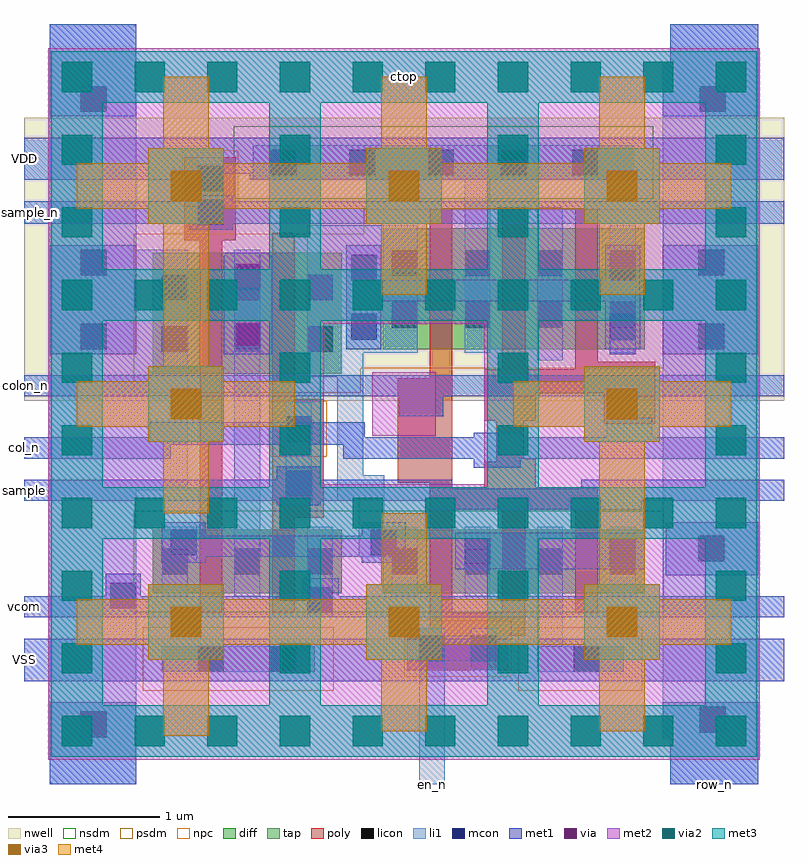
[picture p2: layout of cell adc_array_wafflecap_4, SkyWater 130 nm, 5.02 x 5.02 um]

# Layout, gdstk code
import gdstk
lib = gdstk.Library(unit=1e-6, precision=1e-09)
def R(c, l, rs):  # rectangles x0, y0, x1, y1
    for r in rs: c.add(gdstk.rectangle(r[:2], r[2:], *l))
def A(c, l, x, y, w, h, nx, ny, dx, dy):  # array of equal rectangles
    R(c, l, [(x+i*dx, y+j*dy, x+i*dx+w, y+j*dy+h) for i in range(nx) for j in range(ny)])
nwell = (64, 20)
diff = (65, 20)
tap = (65, 44)
poly = (66, 20)
licon = (66, 44)
li1 = (67, 20)
mcon = (67, 44)
met1 = (68, 20)
via = (68, 44)
met2 = (69, 20)
via2 = (69, 44)
met3 = (70, 20)
via3 = (70, 44)
met4 = (71, 20)
nsdm = (93, 44)
psdm = (94, 20)
npc = (95, 20)

adc_array_wafflecap_4 = lib.new_cell('adc_array_wafflecap_4')
R(adc_array_wafflecap_4, nwell, [(0,2.53,5.02,4.4)])
R(adc_array_wafflecap_4, diff, [(0.85,1.26,2.1,1.68), (2.37,1.26,4.1,1.68), (0.85,2.71,2.1,3.51), (2.37,2.87,4.1,3.67)])
R(adc_array_wafflecap_4, tap, [(0.91,0.74,1.92,0.91), (3.39,0.74,3.96,0.91), (1.51,3.99,4.03,4.22)])
A(adc_array_wafflecap_4, poly, 2.68, 1.13, 0.15, 0.68, 3, 1, 0.48, 0)
R(adc_array_wafflecap_4, poly, [(2.53,0.75,3.2,0.98), (2.55,0.98,3.31,1.03), (2.68,1.03,3.31,1.13), (1.16,1.13,1.31,3.59), (1.64,1.13,1.79,1.76), (1.64,1.76,1.98,2.54), (2.68,1.81,3.79,1.96), (2.68,1.96,2.83,1.99), (3.04,1.96,3.38,2.13), (2.47,1.99,2.83,2.68), (3.12,2.13,3.38,2.15), (3.12,2.15,3.3,2.4), (3.83,2.38,4.17,2.58), (3.04,2.4,3.38,2.58), (1.64,2.54,1.79,3.64), (3.04,2.58,4.17,2.74), (2.68,2.68,2.83,3.8), (3.16,2.74,3.31,3.8), (3.64,2.74,4.17,2.79), (3.64,2.79,3.79,3.8), (1.06,3.59,1.4,4.14)])
A(adc_array_wafflecap_4, licon, 0.91, 1.385, 0.17, 0.17, 3, 2, 0.48, 1.47)
A(adc_array_wafflecap_4, licon, 2.43, 1.385, 0.17, 0.17, 4, 2, 0.48, 1.63)
A(adc_array_wafflecap_4, licon, 0.91, 3.195, 0.17, 0.17, 3, 1, 0.48, 0)
A(adc_array_wafflecap_4, licon, 2.43, 3.355, 0.17, 0.17, 4, 1, 0.48, 0)
A(adc_array_wafflecap_4, licon, 1.63, 4.02, 0.17, 0.17, 3, 1, 0.52, 0)
R(adc_array_wafflecap_4, licon, [(1.15,0.74,1.32,0.91), (1.63,0.74,1.8,0.91), (3.63,0.74,3.8,0.91), (2.61,0.81,2.78,0.98), (2.95,0.81,3.12,0.98), (1.73,2.26,1.9,2.43), (1.145,3.915,1.315,4.085), (3.15,4.02,3.32,4.19), (3.62,4.02,3.79,4.19)])
R(adc_array_wafflecap_4, li1, [(0.17,0,0.74,1.94), (2.61,0,2.78,0.81), (4.27,0,4.85,0.3), (4.22,0.3,4.85,4.76), (0.91,0.74,1.92,0.91), (3.39,0.74,3.96,0.91), (2.95,0.75,3.12,0.81), (2.53,0.81,3.2,0.98), (3.39,0.91,3.56,1.7), (2.61,0.98,2.78,1.03), (2.95,0.98,3.12,1.03), (1.87,1.1,2.04,1.7), (0.91,1.24,1.08,1.46), (1.39,1.24,1.56,3.53), (2.43,1.24,2.6,1.5), (2.91,1.24,3.08,1.7), (3.87,1.24,4.04,1.7), (0.91,1.46,1.14,1.7), (2.21,1.5,2.6,1.7), (2.21,1.7,2.38,1.87), (1.73,1.87,1.9,2.52), (2.07,1.87,2.38,2.04), (0.17,1.94,1.08,3.53), (2.07,2.04,2.24,2.69), (1.87,2.69,2.24,2.85), (3.39,2.8,3.56,3.81), (1.87,2.85,2.6,3.69), (2.91,2.85,3.08,3.99), (3.87,2.85,4.04,3.69), (0.17,3.53,0.74,5.02), (1.14,3.69,1.32,4.17), (1.51,3.99,4.03,4.22), (4.27,4.76,4.85,5.02)])
A(adc_array_wafflecap_4, mcon, 1.63, 4.02, 0.17, 0.17, 3, 1, 0.52, 0)
R(adc_array_wafflecap_4, mcon, [(0.375,0.31,0.545,0.48), (4.465,0.34,4.635,0.51), (1.15,0.74,1.32,0.91), (1.63,0.74,1.8,0.91), (3.63,0.74,3.8,0.91), (1.87,1.13,2.04,1.3), (0.57,1.16,0.74,1.33), (2.91,1.45,3.08,1.62), (3.87,1.45,4.04,1.62), (4.455,1.47,4.625,1.64), (0.97,1.51,1.14,1.68), (2.29,1.51,2.46,1.68), (1.73,1.9,1.9,2.07), (0.375,2.87,0.545,3.04), (4.455,2.87,4.625,3.04), (1.39,2.875,1.56,3.045), (2.16,2.935,2.33,3.105), (3.87,2.935,4.04,3.105), (1.39,3.265,1.56,3.435), (2.16,3.325,2.33,3.495), (3.87,3.325,4.04,3.495), (0.375,3.36,0.545,3.53), (4.455,3.36,4.625,3.53), (1.15,3.69,1.32,3.86), (3.15,4.02,3.32,4.19), (3.62,4.02,3.79,4.19), (0.375,4.44,0.545,4.61), (4.465,4.44,4.635,4.61)])
R(adc_array_wafflecap_4, met1, [(0.17,0,0.74,0.54), (4.27,0,4.85,0.3), (4.22,0.3,4.85,0.54), (0,0.68,5.02,0.96), (0,1.1,5.02,1.24), (0.54,1.24,0.77,1.39), (1.84,1.24,2.08,1.36), (4.24,1.38,4.85,1.73), (2.85,1.42,4.1,1.66), (0.91,1.46,1.2,1.5), (2.23,1.46,2.52,1.5), (0.91,1.5,2.52,1.64), (0.91,1.64,1.2,1.73), (2.23,1.64,2.52,1.73), (2.65,1.81,4.08,1.87), (1.67,1.84,1.96,1.87), (0,1.87,5.02,1.95), (0,1.95,2.83,2.01), (3.68,1.95,5.02,2.01), (1.67,2.01,1.96,2.1), (2.97,2.09,3.28,2.15), (0,2.15,0.97,2.24), (2.11,2.15,5.02,2.24), (0,2.24,5.02,2.29), (0.83,2.29,2.25,2.39), (2.97,2.29,3.28,2.32), (3.85,2.29,4.15,2.42), (2.48,2.43,2.77,2.56), (0,2.56,5.02,2.7), (0.17,2.84,0.74,3.56), (1.32,2.84,1.64,3.49), (3.87,2.84,4.04,2.87), (4.22,2.84,4.85,3.56), (2.13,2.87,2.36,3.19), (3.84,2.87,4.07,3.19), (2.13,3.19,4.07,3.33), (2.13,3.33,2.36,3.56), (3.84,3.33,4.07,3.56), (1.33,3.49,1.62,3.51), (1.09,3.66,1.38,3.7), (0,3.7,5.02,3.85), (1.09,3.85,1.38,3.89), (0,3.99,0.98,4.03), (1.49,3.99,5.02,4.03), (0,4.03,5.02,4.27), (0.17,4.41,0.74,5.02), (4.22,4.41,4.85,4.76), (4.27,4.76,4.85,5.02)])
R(adc_array_wafflecap_4, via, [(1.405,2.895,1.555,3.045), (1.405,3.285,1.555,3.435)])
R(adc_array_wafflecap_4, met2, [(0.16,0.16,4.86,1.98), (0.16,1.98,1.98,3.04), (3.04,1.98,4.86,3.04), (2.3,2.3,2.72,2.72), (0.16,3.04,4.86,4.86)])
A(adc_array_wafflecap_4, via2, 0.25, 0.25, 0.2, 0.2, 10, 4, 0.48, 1.44)
A(adc_array_wafflecap_4, via2, 0.25, 0.73, 0.2, 0.2, 4, 2, 1.44, 0.48)
A(adc_array_wafflecap_4, via2, 0.25, 2.17, 0.2, 0.2, 4, 2, 1.44, 0.48)
A(adc_array_wafflecap_4, via2, 0.25, 3.61, 0.2, 0.2, 4, 2, 1.44, 0.48)
A(adc_array_wafflecap_4, met3, 0.18, 0.18, 4.66, 0.34, 1, 4, 0, 1.44)
A(adc_array_wafflecap_4, met3, 0.18, 0.52, 0.34, 1.1, 4, 3, 1.44, 1.44)
A(adc_array_wafflecap_4, met3, 0.82, 0.82, 0.5, 0.5, 3, 2, 1.44, 2.88)
R(adc_array_wafflecap_4, met3, [(0.82,2.26,1.32,2.76), (3.7,2.26,4.2,2.76)])
A(adc_array_wafflecap_4, via3, 0.97, 0.97, 0.2, 0.2, 3, 2, 1.44, 2.88)
R(adc_array_wafflecap_4, via3, [(0.97,2.41,1.17,2.61), (3.85,2.41,4.05,2.61)])
A(adc_array_wafflecap_4, met4, 0.82, 0.82, 0.5, 0.1, 3, 2, 1.44, 0.4)
A(adc_array_wafflecap_4, met4, 0.82, 3.7, 0.5, 0.1, 3, 2, 1.44, 0.4)
A(adc_array_wafflecap_4, met4, 0.92, 4.2, 0.3, 0.47, 3, 1, 1.44, 0)
R(adc_array_wafflecap_4, met4, [(0.92,0.32,1.22,0.82), (2.36,0.35,2.66,0.82), (3.8,0.35,4.1,0.82), (0.35,0.92,4.67,1.22), (2.36,1.32,2.66,1.79), (3.8,1.32,4.1,2.26), (0.92,1.79,1.22,2.26), (0.82,2.26,1.32,2.36), (3.7,2.26,4.2,2.36), (0.35,2.36,1.79,2.66), (3.23,2.36,4.67,2.66), (0.82,2.66,1.32,2.76), (3.7,2.66,4.2,2.76), (0.92,2.76,1.22,3.7), (2.36,3.23,2.66,3.7), (3.8,3.23,4.1,3.7), (0.35,3.8,4.67,4.1)])
R(adc_array_wafflecap_4, nsdm, [(0.725,1.135,4.225,1.805), (1.385,3.865,4.155,4.345)])
R(adc_array_wafflecap_4, psdm, [(0.785,0.615,2.045,1.035), (3.265,0.615,4.085,1.035), (0.725,2.585,2.225,2.745), (0.725,2.745,4.225,3.635), (2.245,3.635,4.225,3.795)])
R(adc_array_wafflecap_4, npc, [(2.51,0.71,3.22,1.08), (1.63,2.16,2,2.53), (1.045,3.815,1.415,4.185)])
adc_array_wafflecap_4.add(gdstk.Label('VDD', (0,4.13), layer=68, texttype=16))
adc_array_wafflecap_4.add(gdstk.Label('sample_n', (0,3.775), layer=68, texttype=16))
adc_array_wafflecap_4.add(gdstk.Label('colon_n', (0,2.63), layer=68, texttype=16))
adc_array_wafflecap_4.add(gdstk.Label('col_n', (0,2.22), layer=68, texttype=16))
adc_array_wafflecap_4.add(gdstk.Label('sample', (0,1.94), layer=68, texttype=16))
adc_array_wafflecap_4.add(gdstk.Label('vcom', (0,1.17), layer=68, texttype=16))
adc_array_wafflecap_4.add(gdstk.Label('VSS', (0,0.82), layer=68, texttype=16))
adc_array_wafflecap_4.add(gdstk.Label('row_n', (4.56,0), layer=67, texttype=16))
adc_array_wafflecap_4.add(gdstk.Label('en_n', (2.695,0), layer=67, texttype=16))
adc_array_wafflecap_4.add(gdstk.Label('ctop', (2.51,4.67), layer=71, texttype=16))

lib.write_gds('adc_array_wafflecap_4.gds')
